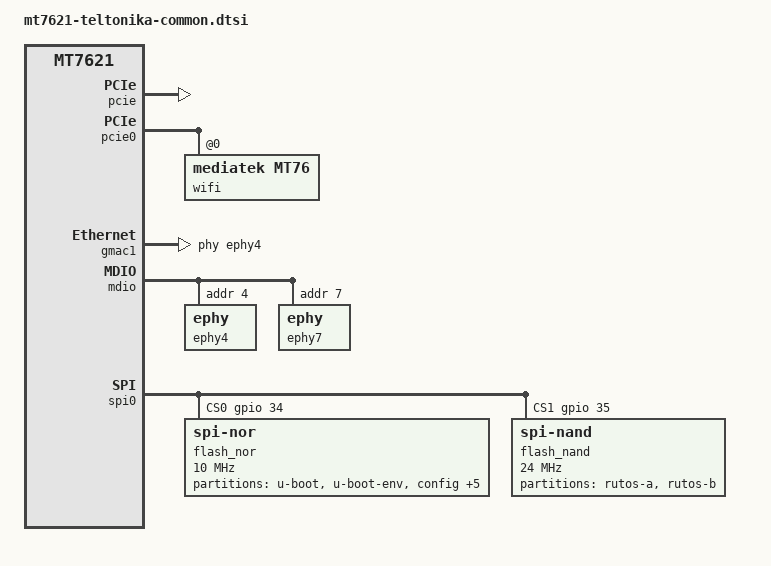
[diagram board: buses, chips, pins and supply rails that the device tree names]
#include "mt7621.dtsi"
#include <dt-bindings/input/input.h>
#include <dt-bindings/leds/common.h>

/ {
	chosen {
				//neveikia konsole su ramdisk nesibootina is nand ubi fail
				bootargs = "console=ttyS0,115200";
				
				//overridino ramdiske, konsole ok. ubi fail
				//bootargs-override = "console=ttyS0,115200";
				
				//ubi mtd fail
				//bootargs-append = "console=ttyS0,115200 ubi.mtd=rutos-a ubi.block=0,1 root=/dev/ubiblock0_1";
				
				//neveikia
				//bootargs-append = "console=ttyS0,115200";
				
				
                //bootargs = "ubi.mtd=rutos-a ubi.block=0,1 root=/dev/ubiblock0_1 rootfstype=squashfs console=ttyS0,115200n8";
                //bootargs-override = "ubi.mtd=rutos-a ubi.block=0,1 root=/dev/ubiblock0_0 rootfstype=squashfs console=ttyS0,115200n8";
                //bootargs-override = "console=ttyS0,115200";
                //veikia [    0.000000] Kernel command line:  ubi.mtd=rutos-a ubi.block=0,1 root=/dev/ubiblock0_1 rootfstype=squashfs console=ttyS0,115200n8 rootfstype=squashfs,jffs2

        };
};

&pcie {
    status = "okay";
};

&pcie0 {
    wifi@0,0 {
        compatible = "mediatek,mt76";
        reg = <0x0000 0 0 0 0>;
        mediatek,mtd-eeprom = <&factory 0x0>;
    };
};

&gmac0 {
	mtd-mac-address = <&config 0x0>;
};

&gmac1 {
        status = "okay";
	label = "wan";
	phy-handle = <&ephy4>;
	mtd-mac-address = <&config 0x0>;
	mtd-mac-address-increment = <1>;
};

&mdio {
	ephy4: ephy@4 {
		reg = <4>;
	};

	ephy7: ephy@7 {
		reg = <7>;
	};
};

&spi0 {
    cs-gpios = <&gpio 34 GPIO_ACTIVE_HIGH>, <&gpio 35 GPIO_ACTIVE_HIGH>;
	status = "okay";

	flash_nor@0 {
		compatible = "jedec,spi-nor", "n25q128a11";
		reg = <0>;
		spi-max-frequency = <10000000>;

		partitions {
			compatible = "fixed-partitions";
			#address-cells = <1>;
			#size-cells = <1>;

			boot: partition@0 {
				label = "u-boot";
				reg = <0x0 0x80000>;
				read-only;
			};

			partition@80000 {
				label = "u-boot-env";
				reg = <0x80000 0x10000>;
			};

			config: partition@90000 {
				label = "config";
				reg = <0x90000 0x10000>;
				read-only;
			};

			partition@a0000 {
				label = "bootconfig-a";
				reg = <0xa0000 0x10000>;
			};

			partition@b0000 {
				label = "bootconfig-b";
				reg = <0xb0000 0x10000>;
			};

			factory: partition@c0000 {
				label = "factory";
				reg = <0xc0000 0x10000>;
				read-only;
			};

			partition@d0000 {
				label = "event-log";
				reg = <0xd0000 0x90000>;
			};

			partition@400000 {
				label = "recovery";
				reg = <0x200000 0xe00000>;
			};
		};
	};

	flash_nand@1 {
		#address-cells = <1>;
		#size-cells = <1>;
		compatible = "spi-nand", "spinand,mt29f";
		reg = <1>;
		spi-max-frequency = <24000000>;

		partitions {
			compatible = "fixed-partitions";
			#address-cells = <1>;
			#size-cells = <1>;

			partition@0 {
				label = "rutos-a";
				reg = <0x00000000 0x08000000>;
			};

			partition@8000000 {
				label = "rutos-b";
				reg = <0x08000000 0x08000000>;
			};
		};
	};
};
